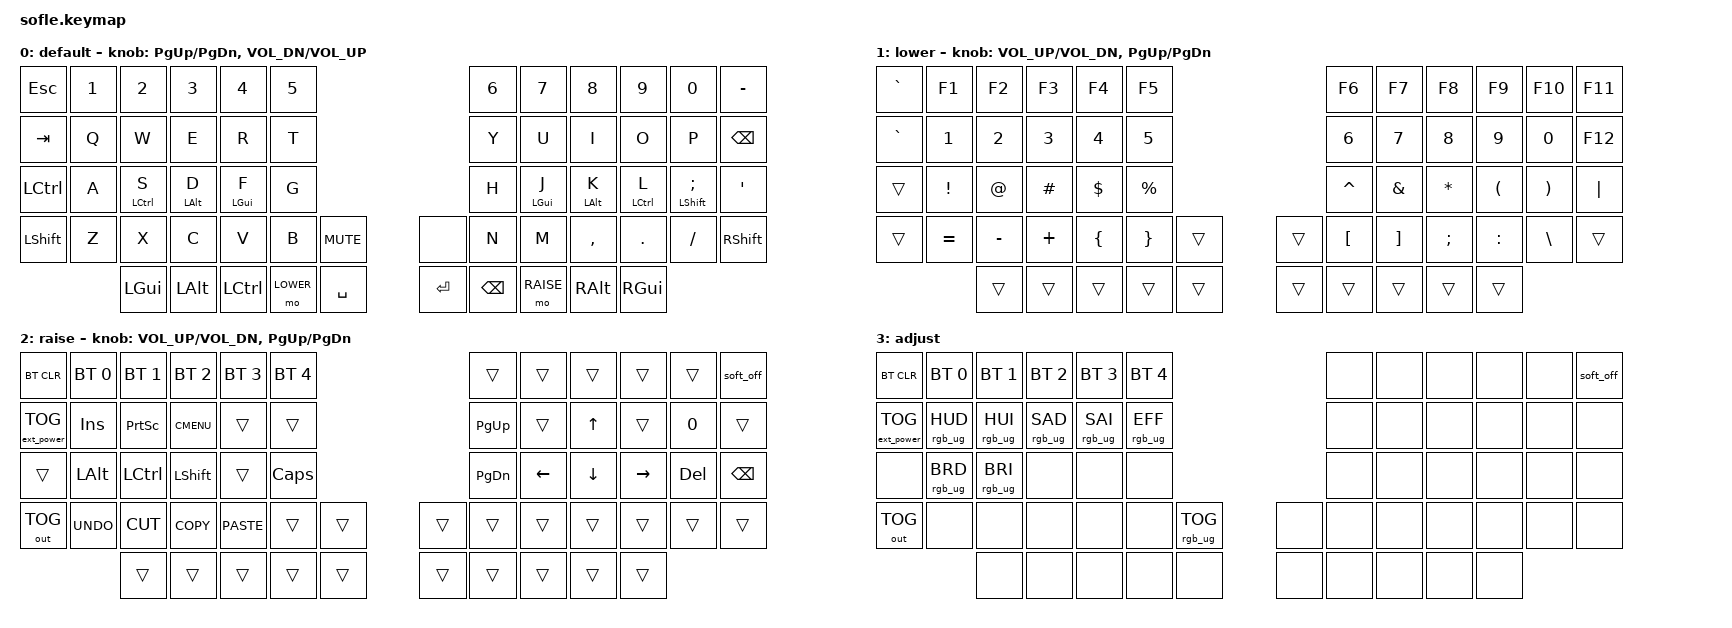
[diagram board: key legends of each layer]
/*
 * Copyright (c) 2020 The ZMK Contributors
 *
 * SPDX-License-Identifier: MIT
 */

#include <behaviors.dtsi>
#include <dt-bindings/zmk/keys.h>
#include <dt-bindings/zmk/bt.h>
#include <dt-bindings/zmk/rgb.h>
#include <dt-bindings/zmk/ext_power.h>
#include <dt-bindings/zmk/outputs.h>

#define BASE 0
#define LOWER 1
#define RAISE 2
#define ADJUST 3

/ {

   // Activate ADJUST layer by pressing raise and lower
    conditional_layers {
        compatible = "zmk,conditional-layers";
        adjust_layer {
            if-layers = <LOWER RAISE>;
            then-layer = <ADJUST>;
        };
    };
    behaviors {
        hml: home_row_mod_left {
            compatible = "zmk,behavior-hold-tap";
            #binding-cells = <2>;
            flavor = "balanced";
            require-prior-idle-ms = <150>;
            tapping-term-ms = <280>;
            quick-tap-ms = <175>;
            bindings = <&kp>, <&kp>;
            hold-trigger-on-release;
        };
        hmr: home_row_mod_right {
            compatible = "zmk,behavior-hold-tap";
            #binding-cells = <2>;
            flavor = "balanced";
            require-prior-idle-ms = <150>;
            tapping-term-ms = <280>;
            quick-tap-ms = <175>;
            bindings = <&kp>, <&kp>;
            hold-trigger-on-release;
        };
    };

    keymap {
        compatible = "zmk,keymap";

        default_layer {
            display-name = "default";
// ------------------------------------------------------------------------------------------------------------
// |  ESC  |  1  |  2  |  3   |  4   |  5   |                   |  6   |  7    |  8    |  9   |   0   | - |
// |  TAB  |  Q  |  W  |  E   |  R   |  T   |                   |  Y   |  U    |  I    |  O   |   P   | BKSPC |
// |  CTRL |  A  |  S  |  D   |  F   |  G   |                  |  H   |  J    |  K    |  L   |   ;   |   '   |
// | SHIFT |  Z  |  X  |  C   |  V   |  B   |  MUTE  |  | MUTE |  N   |  M    |  ,    |  .   |   /   | SHIFT |
//               | GUI | ALT  | CTRL | LOWER|  SPACE |  | ENTER | bspc | RAISE  | ALT   | GUI  |
            bindings = <
&kp ESC   &kp N1 &kp N2   &kp N3   &kp N4    &kp N5                           &kp N6 &kp N7    &kp N8    &kp N9   &kp N0   &kp MINUS
&kp TAB   &kp Q  &kp W    &kp E    &kp R     &kp T                            &kp Y  &kp U     &kp I     &kp O    &kp P    &kp BSPC
&kp LCTRL &kp A  &hml LCTRL S    &hml LALT D    &hml LGUI F     &kp G                            &kp H  &hmr LGUI J     &hmr LALT K     &hmr LCTRL L    &hmr LSHIFT SEMI &kp SQT
&kp LSHFT &kp Z  &kp X    &kp C    &kp V     &kp B      &kp C_MUTE &none      &kp N  &kp M     &kp COMMA &kp DOT  &kp FSLH &kp RSHFT
                 &kp LGUI &kp LALT &kp LCTRL &mo LOWER  &kp SPACE    &kp RET  &kp BSPC  &mo RAISE &kp RALT  &kp RGUI
            >;

            sensor-bindings = <&inc_dec_kp PG_UP PG_DN &inc_dec_kp C_VOL_DN C_VOL_UP>;
        };

        lower_layer {
            display-name = "lower";
// TODO: Some binds are waiting for shifted keycode support.
// ------------------------------------------------------------------------------------------------------------
// |   `   |  F1 |  F2 |  F3  |  F4  |  F5  |                   |  F6  |  F7   |  F8   |  F9  |  F10  |  F11  |
// |   `   |  1  |  2  |  3   |  4   |  5   |                   |  6   |  7    |  8    |  9   |   0   |  F12  |
// |       |  !  |  @  |  #   |  $   |  %   |                   |  ^   |  &    |  *    |  (   |   )   |   |   |
// |       |  =  |  -  |  +   |  {   |  }   |        |  |       |  [   |  ]    |  ;    |  :   |   \   |       |
//               |     |      |      |      |        |  |       |      |       |       |      |
            bindings = <
&kp GRAVE &kp F1    &kp F2    &kp F3      &kp F4    &kp F5                    &kp F6    &kp F7   &kp F8    &kp F9    &kp F10   &kp F11
&kp GRAVE &kp N1    &kp N2    &kp N3      &kp N4    &kp N5                    &kp N6    &kp N7   &kp N8    &kp N9    &kp N0    &kp F12
&trans    &kp EXCL  &kp AT    &kp HASH    &kp DLLR  &kp PRCNT                 &kp CARET &kp AMPS &kp ASTRK &kp LPAR  &kp RPAR  &kp PIPE
&trans    &kp EQUAL &kp MINUS &kp PLUS    &kp LBRC  &kp RBRC   &trans &trans  &kp LBKT  &kp RBKT &kp SEMI  &kp COLON &kp BSLH  &trans
                    &trans    &trans      &trans    &trans     &trans &trans  &trans    &trans   &trans    &trans
            >;

            sensor-bindings = <&inc_dec_kp C_VOL_UP C_VOL_DN &inc_dec_kp PG_UP PG_DN>;
        };

        raise_layer {
            display-name = "raise";
// ------------------------------------------------------------------------------------------------------------
// | BTCLR | BT1  | BT2  |  BT3  |  BT4  |  BT5 |                |      |      |       |      |       |       |
// |       | INS  | PSCR | GUI   |       |      |                | PGUP |      |   ^   |      |       |       |
// |       | ALT  | CTRL | SHIFT |       | CAPS |                | PGDN |   <- |   v   |  ->  |  DEL  | BKSPC |
// |       | UNDO | CUT  | COPY  | PASTE |      |      |  |      |      |      |       |      |       |       |
//                |      |       |       |      |      |  |      |      |      |       |      |
            bindings = <
&bt BT_CLR   &bt BT_SEL 0 &bt BT_SEL 1 &bt BT_SEL 2 &bt BT_SEL 3 &bt BT_SEL 4                  &trans    &trans    &trans   &trans    &trans  &soft_off
&ext_power EP_TOG     &kp INS      &kp PSCRN    &kp K_CMENU  &trans       &trans               &kp PG_UP &trans    &kp UP   &trans    &kp N0  &trans
&trans       &kp LALT     &kp LCTRL    &kp LSHFT    &trans       &kp CLCK                      &kp PG_DN &kp LEFT  &kp DOWN &kp RIGHT &kp DEL &kp BSPC
&out OUT_TOG &kp K_UNDO   &kp K_CUT    &kp K_COPY   &kp K_PASTE  &trans        &trans  &trans  &trans    &trans    &trans   &trans    &trans  &trans
                        &trans       &trans       &trans       &trans        &trans  &trans  &trans    &trans    &trans   &trans
            >;

            sensor-bindings = <&inc_dec_kp C_VOL_UP C_VOL_DN &inc_dec_kp PG_UP PG_DN>;
        };

        adjust_layer {
// ----------------------------------------------------------------------------------------------------------------------------
// | BTCLR  |  BT1    |  BT2    |   BT3   |   BT4   |   BT5   |                  |      |      |       |      |       |SOFTOFF|
// | EXTPWR | RGB_HUD | RGB_HUI | RGB_SAD | RGB_SAI | RGB_EFF |                  |      |      |       |      |       |       |
// |        | RGB_BRD | RGB_BRI |         |         |         |                  |      |      |       |      |       |       |
// | OUTTOG |         |         |         |         |         | RGB_TOG | |      |      |      |       |      |       |       |
//                    |         |         |         |         |         | |      |      |      |       |      |
            display-name = "adjust";
            bindings = <
&bt BT_CLR        &bt BT_SEL 0    &bt BT_SEL 1    &bt BT_SEL 2    &bt BT_SEL 3    &bt BT_SEL 4                            &none &none &none &none &none &soft_off
&ext_power EP_TOG &rgb_ug RGB_HUD &rgb_ug RGB_HUI &rgb_ug RGB_SAD &rgb_ug RGB_SAI &rgb_ug RGB_EFF                         &none &none &none &none &none &none
&none             &rgb_ug RGB_BRD &rgb_ug RGB_BRI &none           &none           &none                                   &none &none &none &none &none &none
&out OUT_TOG          &none           &none           &none           &none           &none            &rgb_ug RGB_TOG &none  &none &none &none &none &none &none
                                  &none           &none           &none           &none            &none           &none  &none &none &none &none
            >;
        };

    };
};
